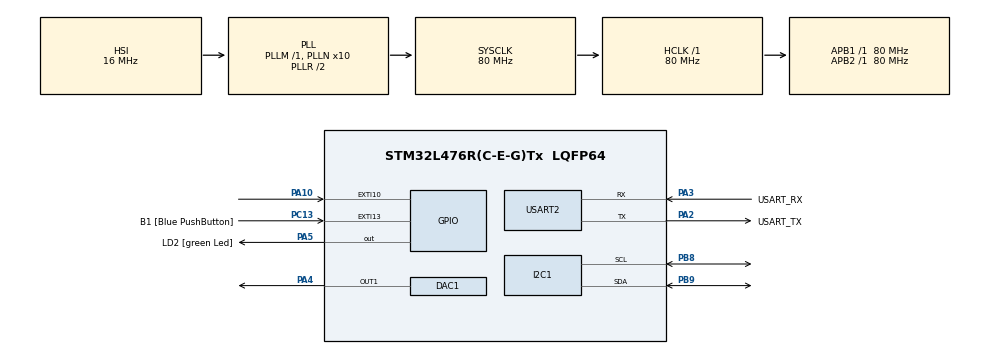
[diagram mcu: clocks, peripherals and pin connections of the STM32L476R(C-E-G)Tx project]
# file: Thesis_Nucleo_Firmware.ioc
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DAC1.DAC_Trigger-DAC_OUT1_ExtAndInt=DAC_TRIGGER_T2_TRGO
Dma.DAC_CH1.0.Direction=DMA_MEMORY_TO_PERIPH
Dma.DAC_CH1.0.Instance=DMA1_Channel3
Dma.DAC_CH1.0.MemDataAlignment=DMA_MDATAALIGN_WORD
Dma.DAC_CH1.0.MemInc=DMA_MINC_ENABLE
Dma.DAC_CH1.0.Mode=DMA_CIRCULAR
Dma.DAC_CH1.0.PeriphDataAlignment=DMA_PDATAALIGN_WORD
Dma.DAC_CH1.0.PeriphInc=DMA_PINC_DISABLE
Dma.DAC_CH1.0.Priority=DMA_PRIORITY_LOW
Dma.Request0=DAC_CH1
I2C1.Timing=0x10909CEC
Mcu.Family=STM32L4
Mcu.Name=STM32L476R(C-E-G)Tx
Mcu.Package=LQFP64
NVIC.DMA1_Channel3_IRQn=true\:0\:0\:false\:false\:true\:false\:true\:true
NVIC.EXTI15_10_IRQn=true\:0\:0\:false\:false\:true\:true\:true\:true
NVIC.PriorityGroup=NVIC_PRIORITYGROUP_4
NVIC.USART2_IRQn=true\:0\:0\:false\:false\:true\:true\:true\:true
PA10.GPIO_ModeDefaultEXTI=GPIO_MODE_IT_FALLING
PA10.GPIO_PuPd=GPIO_PULLUP
PA10.Signal=GPXTI10
PA13\ (JTMS-SWDIO).GPIO_Label=TMS
PA13\ (JTMS-SWDIO).Mode=Serial_Wire
PA13\ (JTMS-SWDIO).Signal=SYS_JTMS-SWDIO
PA14\ (JTCK-SWCLK).GPIO_Label=TCK
PA14\ (JTCK-SWCLK).Mode=Serial_Wire
PA14\ (JTCK-SWCLK).Signal=SYS_JTCK-SWCLK
PA2.GPIO_Label=USART_TX
PA2.GPIO_Mode=GPIO_MODE_AF_PP
PA2.GPIO_PuPd=GPIO_NOPULL
PA2.GPIO_Speed=GPIO_SPEED_FREQ_VERY_HIGH
PA2.Mode=Asynchronous
PA2.Signal=USART2_TX
PA3.GPIO_Label=USART_RX
PA3.GPIO_Mode=GPIO_MODE_AF_PP
PA3.GPIO_PuPd=GPIO_NOPULL
PA3.GPIO_Speed=GPIO_SPEED_FREQ_VERY_HIGH
PA3.Mode=Asynchronous
PA3.Signal=USART2_RX
PA4.Signal=COMP_DAC11_group
PA5.GPIO_Label=LD2 [green Led]
PA5.GPIO_ModeDefaultOutputPP=GPIO_MODE_OUTPUT_PP
PA5.GPIO_PuPd=GPIO_NOPULL
PA5.GPIO_Speed=GPIO_SPEED_FREQ_LOW
PA5.Signal=GPIO_Output
PB3\ (JTDO-TRACESWO).GPIO_Label=SWO
PB3\ (JTDO-TRACESWO).Signal=SYS_JTDO-SWO
PB8.Mode=I2C
PB8.Signal=I2C1_SCL
PB9.Mode=I2C
PB9.Signal=I2C1_SDA
PC13.GPIO_Label=B1 [Blue PushButton]
PC13.GPIO_ModeDefaultEXTI=GPIO_MODE_IT_FALLING
PC13.GPIO_PuPd=GPIO_NOPULL
PC13.Signal=GPXTI13
PC14-OSC32_IN\ (PC14).Mode=LSE-External-Oscillator
PC14-OSC32_IN\ (PC14).Signal=RCC_OSC32_IN
PC15-OSC32_OUT\ (PC15).Mode=LSE-External-Oscillator
PC15-OSC32_OUT\ (PC15).Signal=RCC_OSC32_OUT
PH0-OSC_IN\ (PH0).Signal=RCC_OSC_IN
PH1-OSC_OUT\ (PH1).Signal=RCC_OSC_OUT
ProjectManager.HeapSize=0x200
ProjectManager.StackSize=0x400
ProjectManager.TargetToolchain=STM32CubeIDE
RCC.ADCFreq_Value=64000000
RCC.AHBFreq_Value=80000000
RCC.APB1Freq_Value=80000000
RCC.APB1TimFreq_Value=80000000
RCC.APB2Freq_Value=80000000
RCC.APB2TimFreq_Value=80000000
RCC.CortexFreq_Value=80000000
RCC.HCLKFreq_Value=80000000
RCC.HSE_VALUE=8000000
RCC.HSI_VALUE=16000000
RCC.MSI_VALUE=4000000
RCC.PLLN=10
RCC.PLLSourceVirtual=RCC_PLLSOURCE_HSI
RCC.PREFETCH_ENABLE=1
RCC.SYSCLKFreq_VALUE=80000000
RCC.SYSCLKSource=RCC_SYSCLKSOURCE_PLLCLK
RCC.USBFreq_Value=64000000
RCC.VCOOutputFreq_Value=160000000
SH.COMP_DAC11_group.0=DAC1_OUT1,DAC_OUT1_ExtAndInt
TIM2.Period=10-1
TIM2.Prescaler=0
TIM2.TIM_MasterOutputTrigger=TIM_TRGO_UPDATE
USART2.VirtualMode-Asynchronous=VM_ASYNC
VP_TIM2_VS_ClockSourceINT.Mode=Internal
board=NUCLEO-L476RG

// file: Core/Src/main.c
/* USER CODE BEGIN Header */
/**
  ******************************************************************************
  * @file           : main.c
  * @brief          : Main program body
  ******************************************************************************
  * @attention
  *
  * Copyright (c) 2022 STMicroelectronics.
  * All rights reserved.
  *
  * This software is licensed under terms that can be found in the LICENSE file
  * in the root directory of this software component.
  * If no LICENSE file comes with this software, it is provided AS-IS.
  *
  ******************************************************************************
  */
/* USER CODE END Header */
#include "main.h"

/* USER CODE BEGIN Includes */
#include <math.h>
#include "stdio.h"
#include "vl53l1_api.h"

/* USER CODE END Includes */

/* USER CODE BEGIN PTD */
#define defaultFreq 8000000
#define PI 3.1415926
#define numDACSamples 200

// constants for uart communication
#define uartInputBuffLen 3
#define uartOutputBuffLen 800//VL53L1_MAX_STRING_LENGTH+100

/* USER CODE END PTD */

DAC_HandleTypeDef hdac1;
DMA_HandleTypeDef hdma_dac_ch1;

I2C_HandleTypeDef hi2c1;

TIM_HandleTypeDef htim2;

UART_HandleTypeDef huart2;

/* USER CODE BEGIN PV */
// for VL53L1 Communication
VL53L1_Dev_t                   dev;
VL53L1_DEV                     Dev = &dev;
VL53L1_Error Status; //global device status var

//volatile int IntCount;
//#define isAutonomousExample 1  /* Allow to select either autonomous ranging or fast ranging example */
//#define isInterrupt 1 /* If isInterrupt = 1 then device working in interrupt mode, else device working in polling mode */

VL53L1_RangingMeasurementData_t RangingData;
uint8_t measureMentDataReady=0;

VL53L1_CalibrationData_t calibrationData;
VL53L1_CalibrationData_t* pCalibrationData = &calibrationData;

// for signal generation
uint32_t sinWave[numDACSamples];
uint8_t DAC_ON=0;
int numPulses=1; //default to one, can be set by user
int pulseSpacing= 100; //default to 100ms
int pulseWidth=1; //default to 1 ms

// for uart communication
uint8_t uartRxBuf[uartInputBuffLen];
char uartTxBuf[uartOutputBuffLen];
int uartTxBufLen; // the portion which is actually used

// for program flow
uint8_t isBusy=0; // a catch-all flag for is something important is happening

/* USER CODE END PV */

void SystemClock_Config(void);
static void MX_GPIO_Init(void);
static void MX_DMA_Init(void);
static void MX_USART2_UART_Init(void);
static void MX_DAC1_Init(void);
static void MX_TIM2_Init(void);
static void MX_I2C1_Init(void);
/* USER CODE BEGIN PFP */
void calcsin(void);
void printToSerial(void);
void parseCommand(char* );

#include "VL53L1_functions.h" //functions I have written to communicate with the VL53L1X

/* USER CODE END PFP */

int main(void)
{

  /* MCU Configuration--------------------------------------------------------*/

  /* Reset of all peripherals, Initializes the Flash interface and the Systick. */
  HAL_Init();

  /* Configure the system clock */
  SystemClock_Config();

  /* Initialize all configured peripherals */
  MX_GPIO_Init();
  MX_DMA_Init();
  MX_USART2_UART_Init();
  MX_DAC1_Init();
  MX_TIM2_Init();
  MX_I2C1_Init();
  /* USER CODE BEGIN 2 */
  // for DAC signal generation
  HAL_TIM_Base_Start(&htim2);
  calcsin();

  // connecting to the VL53L1X
    SetupCommscanIseeDevice();
    if(Status){
    	uartTxBufLen=sprintf(uartTxBuf,"Connecting to device failed\r\n");
    	printToSerial();
    }

  //start receiving uart data
  HAL_UART_Receive_IT(&huart2, uartRxBuf, uartInputBuffLen);
  HAL_DAC_SetValue(&hdac1, DAC_CHANNEL_1, DAC_ALIGN_12B_R, 0x00);

  //setup device for ranging
  if(!Status){
	  uartTxBufLen=sprintf(uartTxBuf,"Setting device up for single ranging\r\n");
	  printToSerial();
	  //setupDeviceForSingleRanging();
  }
  if (Status){
	  uartTxBufLen=sprintf(uartTxBuf,"Setting up for single ranging failed\r\n");
	  printToSerial();
  }
  else{
	  uartTxBufLen=sprintf(uartTxBuf,"VL53L1 should be ready to take measurements, push blue button to take measurements\r\n");
	  printToSerial();
	  // take initial measurement to set up registers
	  //takeSinglePollingMeasurement();
  }

  /* USER CODE END 2 */

  /* Infinite loop */
  /* USER CODE BEGIN WHILE */
  while (1)
  {
	  HAL_GPIO_TogglePin(GPIOA,GPIO_PIN_5);
	  if (DAC_ON==1){
		 for (int i=0;i<numPulses;i++) {
			  HAL_Delay(4);
			  HAL_DAC_Start_DMA(&hdac1, DAC1_CHANNEL_1, sinWave, numDACSamples, DAC_ALIGN_12B_R);
			  HAL_Delay(pulseWidth);
			  HAL_DAC_Stop_DMA(&hdac1, DAC1_CHANNEL_1);
			  HAL_DAC_SetValue(&hdac1, DAC_CHANNEL_1, DAC_ALIGN_12B_R, 0x00);
			  HAL_Delay(pulseSpacing-4);
		 }
		 DAC_ON=0;
		 uartTxBufLen=sprintf(uartTxBuf,"pulses should have been sent\r\n");
		 printToSerial();
	  }
    /* USER CODE END WHILE */

  }
}

void SystemClock_Config(void)
{
  RCC_OscInitTypeDef RCC_OscInitStruct = {0};
  RCC_ClkInitTypeDef RCC_ClkInitStruct = {0};

  /** Configure the main internal regulator output voltage
  */
  if (HAL_PWREx_ControlVoltageScaling(PWR_REGULATOR_VOLTAGE_SCALE1) != HAL_OK)
  {
    Error_Handler();
  }

  /** Initializes the RCC Oscillators according to the specified parameters
  * in the RCC_OscInitTypeDef structure.
  */
  RCC_OscInitStruct.OscillatorType = RCC_OSCILLATORTYPE_HSI;
  RCC_OscInitStruct.HSIState = RCC_HSI_ON;
  RCC_OscInitStruct.HSICalibrationValue = RCC_HSICALIBRATION_DEFAULT;
  RCC_OscInitStruct.PLL.PLLState = RCC_PLL_ON;
  RCC_OscInitStruct.PLL.PLLSource = RCC_PLLSOURCE_HSI;
  RCC_OscInitStruct.PLL.PLLM = 1;
  RCC_OscInitStruct.PLL.PLLN = 10;
  RCC_OscInitStruct.PLL.PLLP = RCC_PLLP_DIV7;
  RCC_OscInitStruct.PLL.PLLQ = RCC_PLLQ_DIV2;
  RCC_OscInitStruct.PLL.PLLR = RCC_PLLR_DIV2;
  if (HAL_RCC_OscConfig(&RCC_OscInitStruct) != HAL_OK)
  {
    Error_Handler();
  }

  /** Initializes the CPU, AHB and APB buses clocks
  */
  RCC_ClkInitStruct.ClockType = RCC_CLOCKTYPE_HCLK|RCC_CLOCKTYPE_SYSCLK
                              |RCC_CLOCKTYPE_PCLK1|RCC_CLOCKTYPE_PCLK2;
  RCC_ClkInitStruct.SYSCLKSource = RCC_SYSCLKSOURCE_PLLCLK;
  RCC_ClkInitStruct.AHBCLKDivider = RCC_SYSCLK_DIV1;
  RCC_ClkInitStruct.APB1CLKDivider = RCC_HCLK_DIV1;
  RCC_ClkInitStruct.APB2CLKDivider = RCC_HCLK_DIV1;

  if (HAL_RCC_ClockConfig(&RCC_ClkInitStruct, FLASH_LATENCY_4) != HAL_OK)
  {
    Error_Handler();
  }
}

static void MX_DAC1_Init(void)
{

  DAC_ChannelConfTypeDef sConfig = {0};

  /** DAC Initialization
  */
  hdac1.Instance = DAC1;
  if (HAL_DAC_Init(&hdac1) != HAL_OK)
  {
    Error_Handler();
  }

  /** DAC channel OUT1 config
  */
  sConfig.DAC_SampleAndHold = DAC_SAMPLEANDHOLD_DISABLE;
  sConfig.DAC_Trigger = DAC_TRIGGER_T2_TRGO;
  sConfig.DAC_OutputBuffer = DAC_OUTPUTBUFFER_ENABLE;
  sConfig.DAC_ConnectOnChipPeripheral = DAC_CHIPCONNECT_ENABLE;
  sConfig.DAC_UserTrimming = DAC_TRIMMING_FACTORY;
  if (HAL_DAC_ConfigChannel(&hdac1, &sConfig, DAC_CHANNEL_1) != HAL_OK)
  {
    Error_Handler();
  }

}

static void MX_I2C1_Init(void)
{

  hi2c1.Instance = I2C1;
  hi2c1.Init.Timing = 0x10909CEC;
  hi2c1.Init.OwnAddress1 = 0;
  hi2c1.Init.AddressingMode = I2C_ADDRESSINGMODE_7BIT;
  hi2c1.Init.DualAddressMode = I2C_DUALADDRESS_DISABLE;
  hi2c1.Init.OwnAddress2 = 0;
  hi2c1.Init.OwnAddress2Masks = I2C_OA2_NOMASK;
  hi2c1.Init.GeneralCallMode = I2C_GENERALCALL_DISABLE;
  hi2c1.Init.NoStretchMode = I2C_NOSTRETCH_DISABLE;
  if (HAL_I2C_Init(&hi2c1) != HAL_OK)
  {
    Error_Handler();
  }

  /** Configure Analogue filter
  */
  if (HAL_I2CEx_ConfigAnalogFilter(&hi2c1, I2C_ANALOGFILTER_ENABLE) != HAL_OK)
  {
    Error_Handler();
  }

  /** Configure Digital filter
  */
  if (HAL_I2CEx_ConfigDigitalFilter(&hi2c1, 0) != HAL_OK)
  {
    Error_Handler();
  }

}

static void MX_TIM2_Init(void)
{

  TIM_ClockConfigTypeDef sClockSourceConfig = {0};
  TIM_MasterConfigTypeDef sMasterConfig = {0};

  htim2.Instance = TIM2;
  htim2.Init.Prescaler = 0;
  htim2.Init.CounterMode = TIM_COUNTERMODE_UP;
  htim2.Init.Period = 10-1;
  htim2.Init.ClockDivision = TIM_CLOCKDIVISION_DIV1;
  htim2.Init.AutoReloadPreload = TIM_AUTORELOAD_PRELOAD_DISABLE;
  if (HAL_TIM_Base_Init(&htim2) != HAL_OK)
  {
    Error_Handler();
  }
  sClockSourceConfig.ClockSource = TIM_CLOCKSOURCE_INTERNAL;
  if (HAL_TIM_ConfigClockSource(&htim2, &sClockSourceConfig) != HAL_OK)
  {
    Error_Handler();
  }
  sMasterConfig.MasterOutputTrigger = TIM_TRGO_UPDATE;
  sMasterConfig.MasterSlaveMode = TIM_MASTERSLAVEMODE_DISABLE;
  if (HAL_TIMEx_MasterConfigSynchronization(&htim2, &sMasterConfig) != HAL_OK)
  {
    Error_Handler();
  }

}

static void MX_USART2_UART_Init(void)
{

  huart2.Instance = USART2;
  huart2.Init.BaudRate = 115200;
  huart2.Init.WordLength = UART_WORDLENGTH_8B;
  huart2.Init.StopBits = UART_STOPBITS_1;
  huart2.Init.Parity = UART_PARITY_NONE;
  huart2.Init.Mode = UART_MODE_TX_RX;
  huart2.Init.HwFlowCtl = UART_HWCONTROL_NONE;
  huart2.Init.OverSampling = UART_OVERSAMPLING_16;
  huart2.Init.OneBitSampling = UART_ONE_BIT_SAMPLE_DISABLE;
  huart2.AdvancedInit.AdvFeatureInit = UART_ADVFEATURE_NO_INIT;
  if (HAL_UART_Init(&huart2) != HAL_OK)
  {
    Error_Handler();
  }

}

static void MX_DMA_Init(void)
{

  /* DMA controller clock enable */
  __HAL_RCC_DMA1_CLK_ENABLE();

  /* DMA interrupt init */
  /* DMA1_Channel3_IRQn interrupt configuration */
  HAL_NVIC_SetPriority(DMA1_Channel3_IRQn, 0, 0);
  HAL_NVIC_EnableIRQ(DMA1_Channel3_IRQn);

}

static void MX_GPIO_Init(void)
{
  GPIO_InitTypeDef GPIO_InitStruct = {0};

  /* GPIO Ports Clock Enable */
  __HAL_RCC_GPIOC_CLK_ENABLE();
  __HAL_RCC_GPIOH_CLK_ENABLE();
  __HAL_RCC_GPIOA_CLK_ENABLE();
  __HAL_RCC_GPIOB_CLK_ENABLE();

  /*Configure GPIO pin Output Level */
  HAL_GPIO_WritePin(LD2_GPIO_Port, LD2_Pin, GPIO_PIN_RESET);

  /*Configure GPIO pin : B1_Pin */
  GPIO_InitStruct.Pin = B1_Pin;
  GPIO_InitStruct.Mode = GPIO_MODE_IT_FALLING;
  GPIO_InitStruct.Pull = GPIO_NOPULL;
  HAL_GPIO_Init(B1_GPIO_Port, &GPIO_InitStruct);

  /*Configure GPIO pin : LD2_Pin */
  GPIO_InitStruct.Pin = LD2_Pin;
  GPIO_InitStruct.Mode = GPIO_MODE_OUTPUT_PP;
  GPIO_InitStruct.Pull = GPIO_NOPULL;
  GPIO_InitStruct.Speed = GPIO_SPEED_FREQ_LOW;
  HAL_GPIO_Init(LD2_GPIO_Port, &GPIO_InitStruct);

  /*Configure GPIO pin : PA10 */
  GPIO_InitStruct.Pin = GPIO_PIN_10;
  GPIO_InitStruct.Mode = GPIO_MODE_IT_FALLING;
  GPIO_InitStruct.Pull = GPIO_PULLUP;
  HAL_GPIO_Init(GPIOA, &GPIO_InitStruct);

  /* EXTI interrupt init*/
  HAL_NVIC_SetPriority(EXTI15_10_IRQn, 0, 0);
  HAL_NVIC_EnableIRQ(EXTI15_10_IRQn);

}

/* USER CODE BEGIN 4 */
void calcsin(){
	for (int i=0; i<numDACSamples; i++)
		{
			sinWave[i] = 0.9*((sin(i*2*PI/numDACSamples) + 1.11)*((4096+1)/2));
		}
}

void HAL_GPIO_EXTI_Callback(uint16_t GPIO_Pin){
	takeSinglePollingMeasurement();
}

/*
 * called when a 4 character command is sent to the nucleo
 */
void HAL_UART_RxCpltCallback(UART_HandleTypeDef *huart)
{
	//collect command
	char* text=(char*)uartRxBuf;
	// return carraige for user
	uartTxBufLen=sprintf(uartTxBuf,"\n");
	printToSerial();
	HAL_UART_Receive_IT(&huart2, uartRxBuf, uartInputBuffLen);
	parseCommand(text);
}

/*
 * A small function I wrote to push a global text buffer out via serial
 */
void printToSerial(){
	HAL_UART_Transmit(&huart2, (uint8_t*)uartTxBuf, uartTxBufLen, 100);
}

/*
 * Function that parses user command and executes relevant function
 *
 * there is no real error checking, since I am the only one for now who will be using
 * the system.
 */
void parseCommand(char* text){
	/*
	if(isBusy==1){
		uartTxBufLen=sprintf(uartTxBuf,"BUSY\n");
		printToSerial();
		return;
	}
	*/

	//major choice:
	switch(text[0]){
	case 'P': // generates pulses
	case 'p':
		sscanf(&text[1],"%d",&numPulses);
		DAC_ON=1;
		return;
		break;
	case 'r': // for refSPAD calibration
	case 'R':
		refSPADCalibration();
		break;
	case 'x': // for x-talk calibration
	case 'X':{
		int32_t distance;
		sscanf(&text[1],"%li",&distance);
		distance=distance*10; //converting to mm
		crossTalkCalibration(distance);
		break;
	}
	case 'o': // for offset calibration
	case 'O':{
		int32_t distance;
		sscanf(&text[1],"%li",&distance);
		distance=distance*10;
		offsetCalibration(distance);
		break;
	}
	case 'M': // for taking laser distance measurements
	case 'm':;
		int numReadings;
		sscanf(&text[1],"%d",&numReadings);
		takeMultiplePollingMeasurements( numReadings);
		break;
	case 'S': //changes the spacing between 40kHz pulses
	case 's':
		sscanf(&text[1],"%d",&pulseSpacing);
		uartTxBufLen=sprintf(uartTxBuf,"pulse spacing set to %d ms\r\n",pulseSpacing);
		printToSerial();
		break;
	case 'w': // changes the 40kHz pulse length (width)
	case 'W':
		sscanf(&text[1],"%d",&pulseWidth);
		uartTxBufLen=sprintf(uartTxBuf,"pulse length set to %d ms\r\n",pulseWidth);
		printToSerial();
		break;
	default:
		uartTxBufLen=sprintf(uartTxBuf,"invalid command: %s\r\n",text);
		printToSerial();
		break;
	}
}

/*
 * Generates a sequence of 40kHz pulses on DAC1_Channel_1
 */

/* USER CODE END 4 */

void Error_Handler(void)
{
  __disable_irq();
  while (1)
  {
  }
}
